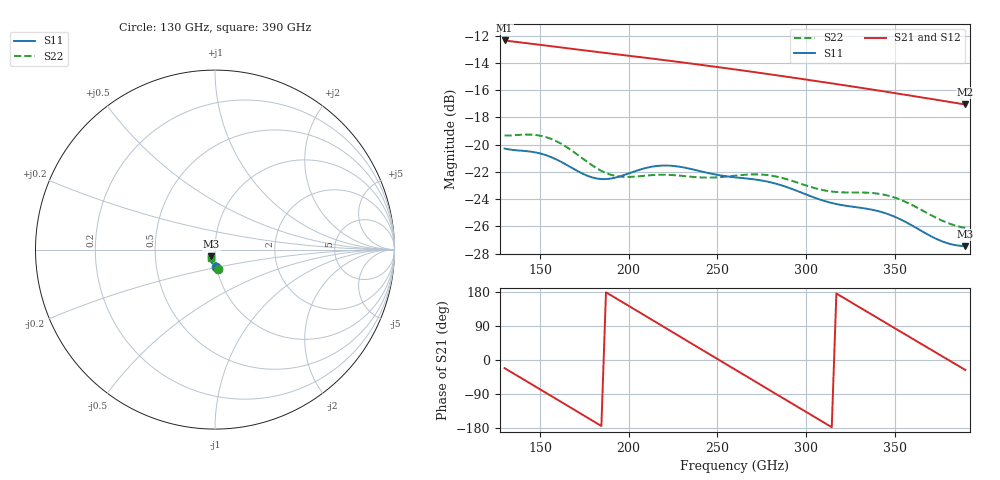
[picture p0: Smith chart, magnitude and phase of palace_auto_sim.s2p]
#  GHZ S DB R 50
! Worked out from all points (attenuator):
!   101 points, 130 GHz to 390 GHz, reference 50 ohm
!   highest |S21| = -12.34 dB at 130 GHz (marker M1); lowest = -17.0 dB at 390 GHz (marker M2)
!   lowest |S11| = -27.5 dB at 390 GHz (marker M3), VSWR 1.09, Z = 47.9 - j3.57 ohm
!   |S11| at or under -10 dB: start of sweep to end of sweep
!   |S22| runs from -26.1 to -19.3 dB; largest |S21 - S12| = 2.3e-13
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130  -20.29 -85.9  -12.34 -21.5  -12.34 -21.5  -19.33 -81.6
143  -20.48 -85.6  -12.55 -57.8  -12.55 -57.8  -19.26 -83.2
153.4  -20.77 -88.0  -12.72 -86.8  -12.72 -86.8  -19.45 -87.7
163.8  -21.40 -90.2  -12.89 -115.9  -12.89 -115.9  -20.08 -92.4
174.2  -22.14 -89.7  -13.06 -145.0  -13.06 -145.0  -21.03 -94.8
184.6  -22.53 -86.7  -13.22 -174.1  -13.22 -174.1  -21.92 -93.7
195  -22.33 -84.2  -13.39 156.9  -13.39 156.9  -22.35 -90.8
208  -21.77 -85.5  -13.59 120.5  -13.59 120.5  -22.29 -89.0
218.4  -21.54 -89.4  -13.76 91.4  -13.76 91.4  -22.21 -89.9
228.8  -21.62 -93.8  -13.93 62.3  -13.93 62.3  -22.28 -91.4
241.8  -21.99 -98.0  -14.15 25.9  -14.15 25.9  -22.41 -92.5
260  -22.40 -101.9  -14.47 -25.0  -14.47 -25.0  -22.28 -94.6
270.4  -22.54 -104.6  -14.66 -54.1  -14.66 -54.1  -22.18 -97.5
280.8  -22.79 -108.1  -14.85 -83.1  -14.85 -83.1  -22.28 -101.2
291.2  -23.21 -111.3  -15.05 -112.1  -15.05 -112.1  -22.62 -104.6
304.2  -23.86 -113.8  -15.30 -148.3  -15.30 -148.3  -23.16 -106.8
322.4  -24.48 -115.1  -15.65 161.0  -15.65 161.0  -23.51 -107.7
335.4  -24.73 -117.3  -15.91 124.9  -15.91 124.9  -23.53 -110.2
348.4  -25.20 -120.8  -16.17 88.8  -16.17 88.8  -23.82 -114.5
358.8  -25.86 -123.0  -16.39 59.9  -16.39 59.9  -24.36 -117.6
371.8  -26.81 -122.8  -16.66 23.9  -16.66 23.9  -25.26 -118.9
390  -27.46 -118.6  -17.05 -26.4  -17.05 -26.4  -26.12 -116.1
